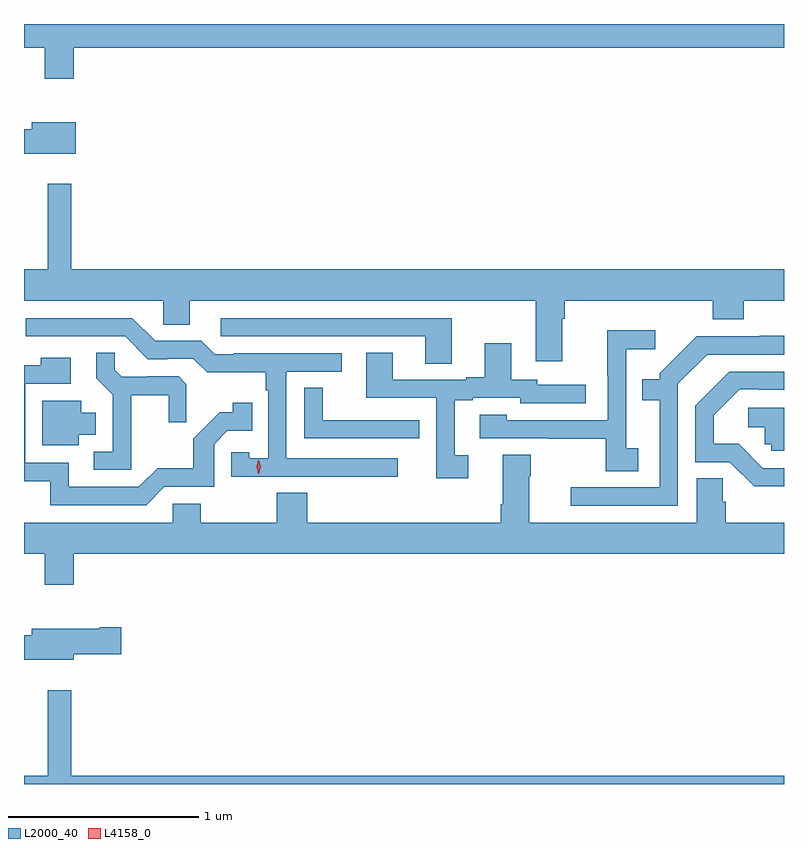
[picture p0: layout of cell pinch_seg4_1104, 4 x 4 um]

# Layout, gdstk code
import gdstk
lib = gdstk.Library(unit=1e-6, precision=1e-09)
def P(c, l, *ps):  # polygons
    for p in ps: c.add(gdstk.Polygon(p, *l))
L2000_40 = (2000, 40)
L4158_0 = (4158, 0)

pinch_seg4_1104 = lib.new_cell('pinch_seg4_1104')
P(pinch_seg4_1104, L2000_40, [(441.872,798.152),(445.611,798.152),(445.611,798.276),(441.611,798.276),(441.611,798.152),(441.719,798.152),(441.719,797.988),(441.872,797.988)],
  [(441.883,797.758),(441.653,797.758),(441.653,797.722),(441.611,797.722),(441.611,797.594),(441.883,797.594)],
  [(444.445,796.724),(444.458,796.724),(444.458,796.82),(445.235,796.82),(445.235,796.721),(445.4,796.721),(445.4,796.82),(445.611,796.82),(445.611,796.984),(441.859,796.984),(441.859,797.434),(441.737,797.434),(441.737,796.984),(441.611,796.984),(441.611,796.82),(442.344,796.82),(442.344,796.693),(442.483,796.693),(442.483,796.82),(444.305,796.82),(444.305,796.5),(444.445,796.5)],
  [(443.863,796.728),(442.647,796.728),(442.647,796.632),(443.723,796.632),(443.723,796.489),(443.863,796.489)],
  [(443.578,795.99),(442.992,795.99),(442.992,796.446),(443.284,796.446),(443.284,796.542),(442.714,796.542),(442.714,796.539),(442.614,796.539),(442.545,796.608),(442.302,796.608),(442.182,796.728),(441.62,796.728),(441.62,796.632),(442.143,796.632),(442.263,796.512),(442.364,796.512),(442.364,796.515),(442.503,796.515),(442.576,796.442),(442.884,796.442),(442.884,796.349),(442.896,796.349),(442.896,795.991),(442.797,795.991),(442.797,796.023),(442.701,796.023),(442.701,795.894),(443.185,795.894),(443.185,795.892),(443.578,795.892)],
  [(444.844,796.044),(444.78,796.044),(444.78,796.565),(444.934,796.565),(444.934,796.663),(444.682,796.663),(444.682,796.424),(444.684,796.424),(444.684,796.191),(444.153,796.191),(444.153,796.219),(444.009,796.219),(444.009,796.095),(444.367,796.095),(444.367,796.093),(444.672,796.093),(444.672,795.922),(444.844,795.922)],
  [(445.053,796.383),(445.206,796.536),(445.611,796.536),(445.611,796.634),(445.483,796.634),(445.483,796.632),(445.152,796.632),(444.957,796.437),(444.957,796.405),(444.865,796.405),(444.865,796.296),(444.956,796.296),(444.956,795.837),(444.489,795.837),(444.489,795.741),(445.053,795.741)],
  [(443.95,796.005),(443.878,796.005),(443.878,796.296),(443.974,796.296),(443.974,796.308),(444.222,796.308),(444.222,796.281),(444.568,796.281),(444.568,796.377),(444.312,796.377),(444.312,796.404),(444.175,796.404),(444.175,796.597),(444.035,796.597),(444.035,796.417),(443.939,796.417),(443.939,796.404),(443.551,796.404),(443.551,796.547),(443.411,796.547),(443.411,796.308),(443.781,796.308),(443.781,795.885),(443.95,795.885)],
  [(442.175,796.322),(442.372,796.322),(442.372,796.179),(442.466,796.179),(442.466,796.381),(442.425,796.422),(442.26,796.422),(442.26,796.419),(442.126,796.419),(442.089,796.456),(442.089,796.547),(441.991,796.547),(441.991,796.411),(442.077,796.325),(442.077,796.026),(441.978,796.026),(441.978,795.93),(442.175,795.93)],
  [(442.35,795.84),(442.611,795.84),(442.611,796.065),(442.68,796.134),(442.811,796.134),(442.811,796.282),(442.71,796.282),(442.71,796.232),(442.64,796.232),(442.503,796.094),(442.503,795.939),(442.314,795.939),(442.215,795.84),(441.847,795.84),(441.847,795.966),(441.618,795.966),(441.618,796.383),(441.856,796.383),(441.856,796.519),(441.7,796.519),(441.7,796.479),(441.611,796.479),(441.611,795.87),(441.749,795.87),(441.749,795.744),(442.254,795.744)],
  [(445.611,795.939),(445.5,795.939),(445.373,796.066),(445.24,796.066),(445.24,796.216),(445.377,796.353),(445.477,796.353),(445.477,796.35),(445.611,796.35),(445.611,796.446),(445.322,796.446),(445.143,796.267),(445.143,795.969),(445.326,795.969),(445.454,795.842),(445.611,795.842)],
  [(443.692,796.19),(443.579,796.19),(443.579,796.191),(443.184,796.191),(443.184,796.361),(443.085,796.361),(443.085,796.095),(443.692,796.095)],
  [(441.898,796.115),(441.988,796.115),(441.988,796.231),(441.913,796.231),(441.913,796.294),(441.707,796.294),(441.707,796.058),(441.898,796.058)],
  [(445.611,796.257),(445.422,796.257),(445.422,796.154),(445.509,796.154),(445.509,796.065),(445.545,796.065),(445.545,796.029),(445.611,796.029)],
  [(441.872,795.488),(445.611,795.488),(445.611,795.652),(445.304,795.652),(445.304,795.762),(445.289,795.762),(445.289,795.884),(445.151,795.884),(445.151,795.652),(444.271,795.652),(444.271,795.896),(444.279,795.896),(444.279,796.009),(444.131,796.009),(444.131,795.748),(444.119,795.748),(444.119,795.652),(443.102,795.652),(443.102,795.809),(442.942,795.809),(442.942,795.652),(442.542,795.652),(442.542,795.75),(442.395,795.75),(442.395,795.652),(441.611,795.652),(441.611,795.488),(441.719,795.488),(441.719,795.324),(441.872,795.324)],
  [(441.874,794.96),(442.123,794.96),(442.123,795.102),(442.01,795.102),(442.01,795.094),(441.653,795.094),(441.653,795.058),(441.611,795.058),(441.611,794.93),(441.874,794.93)],
  [(445.611,794.32),(441.859,794.32),(441.859,794.77),(441.737,794.77),(441.737,794.32),(441.611,794.32),(441.611,794.276),(445.611,794.276)])
P(pinch_seg4_1104, L4158_0, [(442.846,795.909),(442.845,795.91),(442.836,795.945),(442.845,795.981),(442.846,795.981),(442.846,795.981),(442.856,795.945),(442.846,795.91)])

lib.write_gds('pinch_seg4_1104.gds')
